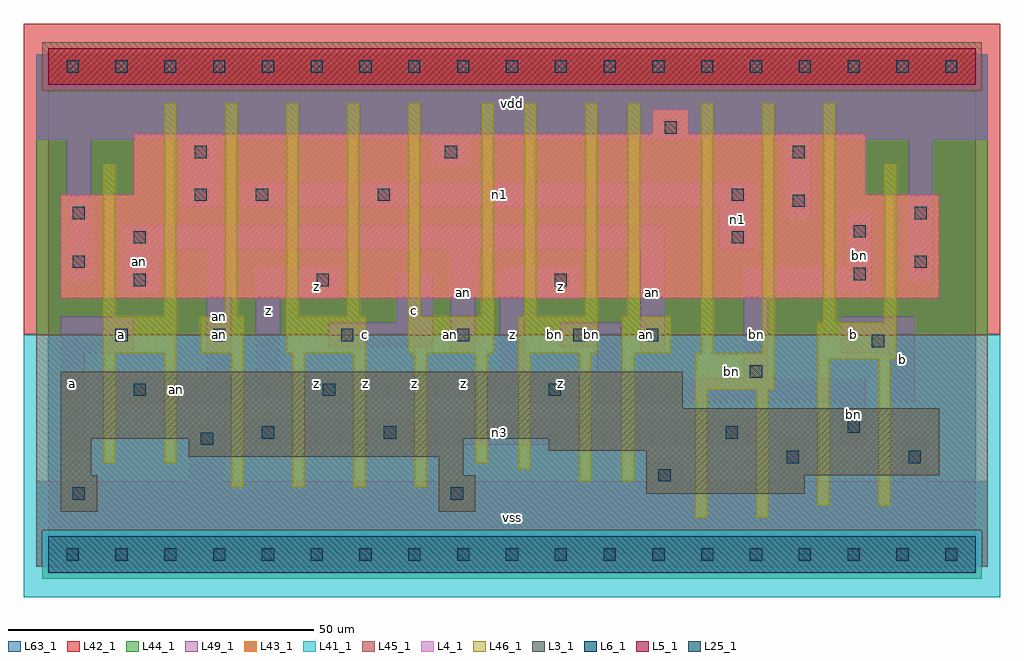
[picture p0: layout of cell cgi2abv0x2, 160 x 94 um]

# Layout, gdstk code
import gdstk
lib = gdstk.Library(unit=1e-6, precision=1e-09)
def R(c, l, rs):  # rectangles x0, y0, x1, y1
    for r in rs: c.add(gdstk.rectangle(r[:2], r[2:], *l))
def A(c, l, x, y, w, h, nx, ny, dx, dy):  # array of equal rectangles
    R(c, l, [(x+i*dx, y+j*dy, x+i*dx+w, y+j*dy+h) for i in range(nx) for j in range(ny)])
L3_1 = (3, 1)
L4_1 = (4, 1)
L5_1 = (5, 1)
L6_1 = (6, 1)
L25_1 = (25, 1)
L41_1 = (41, 1)
L42_1 = (42, 1)
L43_1 = (43, 1)
L44_1 = (44, 1)
L45_1 = (45, 1)
L46_1 = (46, 1)
L49_1 = (49, 1)
L63_1 = (63, 1)

cgi2abv0x2 = lib.new_cell('cgi2abv0x2')
R(cgi2abv0x2, L3_1, [(2,7,8,13), (64,7,70,13), (98,10,124,13), (2,13,7,19), (64,13,68,16), (98,13,146,17), (23,16,68,19), (82,17,146,19), (2,19,146,24), (2,24,104,30)])
R(cgi2abv0x2, L4_1, [(2,42,146,59), (14,59,134,69), (99,69,105,73)])
R(cgi2abv0x2, L5_1, [(0,77,152,83)])
R(cgi2abv0x2, L6_1, [(0,-3,152,3), (0,-3,152,3)])
A(cgi2abv0x2, L25_1, 3, -1, 2, 2, 19, 2, 8, 80)
A(cgi2abv0x2, L25_1, 48, 35, 2, 2, 3, 1, 19, 0)
R(cgi2abv0x2, L25_1, [(4,9,6,11), (66,9,68,11), (100,12,102,14), (121,15,123,17), (141,15,143,17), (25,18,27,20), (35,19,37,21), (55,19,57,21), (111,19,113,21), (131,20,133,22), (14,26,16,28), (45,26,47,28), (82,26,84,28), (115,29,117,31), (135,34,137,36), (11,35,13,37), (27,35,29,37), (98,35,100,37), (14,44,16,46), (44,44,46,46), (83,44,85,46), (132,45,134,47), (4,47,6,49), (142,47,144,49), (14,51,16,53), (112,51,114,53), (132,52,134,54), (4,55,6,57), (142,55,144,57), (122,57,124,59), (24,58,26,60), (34,58,36,60), (54,58,56,60), (112,58,114,60), (24,65,26,67), (65,65,67,67), (122,65,124,67), (101,69,103,71)])
R(cgi2abv0x2, L41_1, [(-4,-7,156,36)])
R(cgi2abv0x2, L42_1, [(-4,36,156,87)])
R(cgi2abv0x2, L43_1, [(0,-3,152,3), (2,7,8,13), (64,7,70,13), (98,10,124,13), (2,13,7,19), (64,13,68,16), (98,13,146,17), (23,16,68,19), (82,17,146,19), (2,19,146,24), (2,24,104,30), (2,42,146,59), (14,59,134,69), (99,69,105,73), (0,77,152,83)])
R(cgi2abv0x2, L44_1, [(-1,-4,153,4), (-2,36,154,76), (-2,76,-1,82), (153,76,154,82)])
R(cgi2abv0x2, L45_1, [(-2,-2,-1,4), (153,-2,154,4), (-2,4,154,36), (-1,76,153,84)])
A(cgi2abv0x2, L46_1, 30, 11, 2, 22, 4, 1, 10, 0)
A(cgi2abv0x2, L46_1, 19, 39, 2, 35, 5, 1, 10, 0)
R(cgi2abv0x2, L46_1, [(106,6,108,27), (116,6,118,27), (126,8,128,32), (136,8,138,32), (87,12,89,33), (94,12,96,33), (77,14,79,33), (9,15,11,33), (19,15,21,33), (70,15,72,33), (106,27,119,33), (126,32,139,38), (9,33,21,39), (25,33,32,39), (39,33,52,39), (59,33,73,39), (77,33,90,39), (94,33,102,39), (107,33,109,74), (117,33,119,74), (127,38,129,74), (137,38,139,64), (9,39,11,64), (71,39,73,74), (78,39,80,74), (88,39,90,74), (95,39,97,74)])
R(cgi2abv0x2, L49_1, [(-2,-2,154,12), (23,12,29,21), (98,12,104,15), (120,12,124,19), (140,12,144,19), (2,17,6,33), (33,18,115,22), (130,18,134,25), (12,25,30,29), (43,25,49,26), (74,25,87,26), (90,25,134,29), (138,25,142,33), (34,26,87,30), (26,29,30,50), (90,29,94,34), (114,29,118,43), (34,30,38,42), (74,30,78,42), (2,33,14,39), (66,33,70,50), (97,33,101,50), (130,33,142,39), (46,34,63,38), (84,34,94,38), (57,38,63,46), (34,42,48,47), (74,42,87,47), (12,43,18,50), (114,43,135,47), (3,45,7,68), (141,45,145,68), (131,47,135,56), (12,50,101,54), (110,50,116,57), (121,55,125,68), (22,57,28,68), (32,57,116,61), (63,64,69,68), (-2,68,154,82)])
R(cgi2abv0x2, L63_1, [(0,0,152,80)])
cgi2abv0x2.add(gdstk.Label('an', (28,36), layer=49, texttype=1))
cgi2abv0x2.add(gdstk.Label('an', (66,36), layer=46, texttype=1))
cgi2abv0x2.add(gdstk.Label('an', (98,36), layer=49, texttype=1))
cgi2abv0x2.add(gdstk.Label('bn', (83,36), layer=46, texttype=1))
cgi2abv0x2.add(gdstk.Label('bn', (112,30), layer=46, texttype=1))
cgi2abv0x2.add(gdstk.Label('a', (4,28), layer=49, texttype=1))
cgi2abv0x2.add(gdstk.Label('a', (12,36), layer=49, texttype=1))
cgi2abv0x2.add(gdstk.Label('an', (15,48), layer=49, texttype=1))
cgi2abv0x2.add(gdstk.Label('an', (21,27), layer=49, texttype=1))
cgi2abv0x2.add(gdstk.Label('z', (52,28), layer=49, texttype=1))
cgi2abv0x2.add(gdstk.Label('z', (44,28), layer=49, texttype=1))
cgi2abv0x2.add(gdstk.Label('c', (52,36), layer=49, texttype=1))
cgi2abv0x2.add(gdstk.Label('z', (44,44), layer=49, texttype=1))
cgi2abv0x2.add(gdstk.Label('z', (36,40), layer=49, texttype=1))
cgi2abv0x2.add(gdstk.Label('an', (28,39), layer=49, texttype=1))
cgi2abv0x2.add(gdstk.Label('vss', (76,6), layer=49, texttype=1))
cgi2abv0x2.add(gdstk.Label('z', (60,28), layer=49, texttype=1))
cgi2abv0x2.add(gdstk.Label('z', (84,28), layer=49, texttype=1))
cgi2abv0x2.add(gdstk.Label('z', (68,28), layer=49, texttype=1))
cgi2abv0x2.add(gdstk.Label('c', (60,40), layer=49, texttype=1))
cgi2abv0x2.add(gdstk.Label('z', (84,44), layer=49, texttype=1))
cgi2abv0x2.add(gdstk.Label('z', (76,36), layer=49, texttype=1))
cgi2abv0x2.add(gdstk.Label('an', (68,43), layer=49, texttype=1))
cgi2abv0x2.add(gdstk.Label('vdd', (76,74), layer=49, texttype=1))
cgi2abv0x2.add(gdstk.Label('n3', (74,20), layer=49, texttype=1))
cgi2abv0x2.add(gdstk.Label('bn', (116,36), layer=49, texttype=1))
cgi2abv0x2.add(gdstk.Label('bn', (89,36), layer=49, texttype=1))
cgi2abv0x2.add(gdstk.Label('n1', (113,55), layer=49, texttype=1))
cgi2abv0x2.add(gdstk.Label('an', (99,43), layer=49, texttype=1))
cgi2abv0x2.add(gdstk.Label('n1', (74,59), layer=49, texttype=1))
cgi2abv0x2.add(gdstk.Label('bn', (132,23), layer=49, texttype=1))
cgi2abv0x2.add(gdstk.Label('b', (140,32), layer=49, texttype=1))
cgi2abv0x2.add(gdstk.Label('b', (132,36), layer=49, texttype=1))
cgi2abv0x2.add(gdstk.Label('bn', (133,49), layer=49, texttype=1))

lib.write_gds('cgi2abv0x2.gds')
